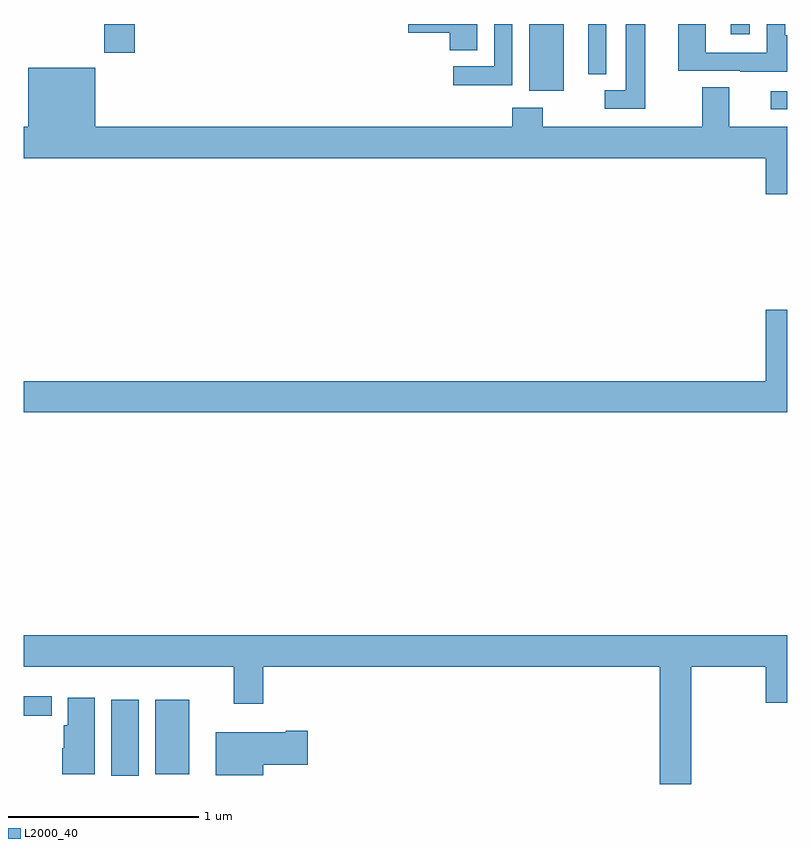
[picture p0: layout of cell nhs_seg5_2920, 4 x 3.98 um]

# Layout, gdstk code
import gdstk
lib = gdstk.Library(unit=1e-6, precision=1e-09)
def R(c, l, rs):  # rectangles x0, y0, x1, y1
    for r in rs: c.add(gdstk.rectangle(r[:2], r[2:], *l))
def P(c, l, *ps):  # polygons
    for p in ps: c.add(gdstk.Polygon(p, *l))
L2000_40 = (2000, 40)

nhs_seg5_2920 = lib.new_cell('nhs_seg5_2920')
R(nhs_seg5_2920, L2000_40, [(281.459,850.86,281.602,851.26), (281.69,850.868,281.866,851.26), (281,851.176,281.146,851.278), (284.913,854.352,285,854.448), (283.649,854.45,283.828,854.799), (281.422,854.649,281.582,854.799), (284.705,854.745,284.802,854.799)])
P(nhs_seg5_2920, L2000_40, [(285,854.739),(284.988,854.739),(284.988,854.799),(284.892,854.799),(284.892,854.649),(284.574,854.649),(284.574,854.799),(284.429,854.799),(284.429,854.553),(284.753,854.553),(284.753,854.549),(285,854.549)],
  [(283.375,854.799),(283.014,854.799),(283.014,854.753),(283.232,854.753),(283.232,854.662),(283.375,854.662)],
  [(284.257,854.799),(284.153,854.799),(284.153,854.451),(284.043,854.451),(284.043,854.355),(284.257,854.355)],
  [(283.56,854.799),(283.464,854.799),(283.464,854.577),(283.251,854.577),(283.251,854.479),(283.56,854.479)],
  [(284.052,854.799),(283.958,854.799),(283.958,854.69),(283.956,854.69),(283.956,854.536),(284.052,854.536)],
  [(285,854.26),(284.695,854.26),(284.695,854.468),(284.555,854.468),(284.555,854.26),(283.719,854.26),(283.719,854.359),(283.559,854.359),(283.559,854.26),(281.374,854.26),(281.374,854.569),(281.024,854.569),(281.024,854.26),(281,854.26),(281,854.096),(284.888,854.096),(284.888,853.908),(285,853.908)],
  [(285,853.303),(284.888,853.303),(284.888,852.928),(281,852.928),(281,852.764),(285,852.764)],
  [(281,851.432),(282.101,851.432),(282.101,851.238),(282.254,851.238),(282.254,851.432),(284.333,851.432),(284.333,850.818),(284.497,850.818),(284.497,851.432),(284.888,851.432),(284.888,851.244),(285,851.244),(285,851.596),(281,851.596)],
  [(281.371,851.269),(281.231,851.269),(281.231,851.127),(281.21,851.127),(281.21,851.004),(281.201,851.004),(281.201,850.868),(281.371,850.868)],
  [(282.256,850.919),(282.487,850.919),(282.487,851.097),(282.374,851.097),(282.374,851.089),(282.005,851.089),(282.005,850.865),(282.256,850.865)])

lib.write_gds('nhs_seg5_2920.gds')
